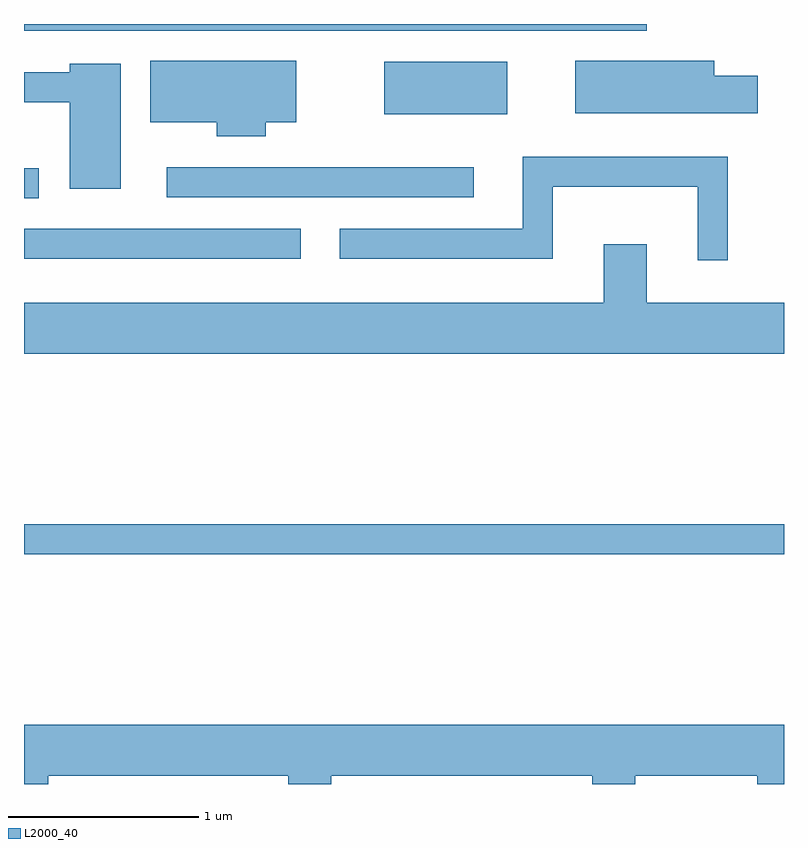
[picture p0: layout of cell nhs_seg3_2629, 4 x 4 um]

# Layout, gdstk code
import gdstk
lib = gdstk.Library(unit=1e-6, precision=1e-09)
def R(c, l, rs):  # rectangles x0, y0, x1, y1
    for r in rs: c.add(gdstk.rectangle(r[:2], r[2:], *l))
def P(c, l, *ps):  # polygons
    for p in ps: c.add(gdstk.Polygon(p, *l))
L2000_40 = (2000, 40)

nhs_seg3_2629 = lib.new_cell('nhs_seg3_2629')
R(nhs_seg3_2629, L2000_40, [(261.611,1207.101,265.611,1207.259), (261.611,1208.656,263.068,1208.814), (261.611,1208.976,261.688,1209.134), (262.363,1208.981,263.978,1209.139), (263.506,1209.416,264.154,1209.694), (261.611,1209.856,264.889,1209.892)])
P(nhs_seg3_2629, L2000_40, [(262.884,1209.376),(263.044,1209.376),(263.044,1209.699),(262.276,1209.699),(262.276,1209.376),(262.626,1209.376),(262.626,1209.301),(262.884,1209.301)],
  [(265.474,1209.619),(265.244,1209.619),(265.244,1209.699),(264.511,1209.699),(264.511,1209.421),(265.474,1209.421)],
  [(262.119,1209.684),(261.851,1209.684),(261.851,1209.639),(261.611,1209.639),(261.611,1209.481),(261.851,1209.481),(261.851,1209.026),(262.119,1209.026)],
  [(265.314,1209.194),(264.236,1209.194),(264.236,1208.814),(263.273,1208.814),(263.273,1208.656),(264.394,1208.656),(264.394,1209.036),(265.156,1209.036),(265.156,1208.648),(265.314,1208.648)],
  [(265.611,1208.424),(264.889,1208.424),(264.889,1208.734),(264.661,1208.734),(264.661,1208.424),(261.611,1208.424),(261.611,1208.156),(265.611,1208.156)],
  [(261.739,1205.936),(263.001,1205.936),(263.001,1205.892),(263.229,1205.892),(263.229,1205.936),(264.601,1205.936),(264.601,1205.892),(264.829,1205.892),(264.829,1205.936),(265.471,1205.936),(265.471,1205.892),(265.611,1205.892),(265.611,1206.204),(261.611,1206.204),(261.611,1205.892),(261.739,1205.892)])

lib.write_gds('nhs_seg3_2629.gds')
